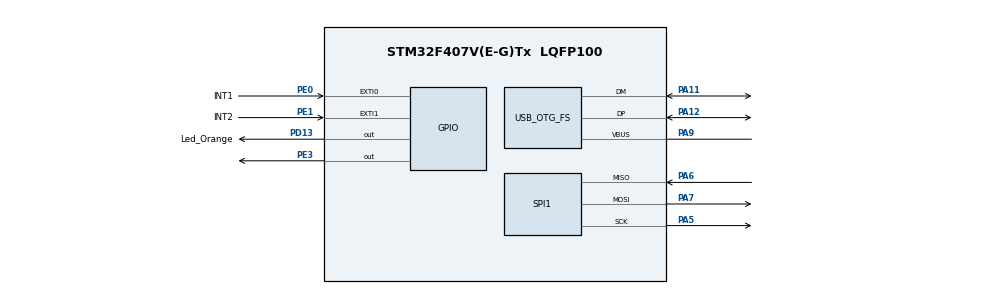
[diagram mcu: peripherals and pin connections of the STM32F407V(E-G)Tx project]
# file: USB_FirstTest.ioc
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Mcu.Family=STM32F4
Mcu.Name=STM32F407V(E-G)Tx
Mcu.Package=LQFP100
NVIC.EXTI0_IRQn=true\:0\:0
NVIC.EXTI1_IRQn=true\:0\:0
NVIC.OTG_FS_IRQn=true\:0\:0
NVIC.PriorityGroup=NVIC_PRIORITYGROUP_0
NVIC.TIM7_IRQn=true\:0\:0
PA11.GPIO_Mode=GPIO_MODE_AF_PP
PA11.GPIO_PuPd=GPIO_NOPULL
PA11.GPIO_Speed=GPIO_SPEED_HIGH
PA11.Mode=Device_Only
PA11.Signal=USB_OTG_FS_DM
PA12.GPIO_Mode=GPIO_MODE_AF_PP
PA12.GPIO_PuPd=GPIO_NOPULL
PA12.GPIO_Speed=GPIO_SPEED_HIGH
PA12.Mode=Device_Only
PA12.Signal=USB_OTG_FS_DP
PA5.GPIO_Mode=GPIO_MODE_AF_PP
PA5.GPIO_PuPd=GPIO_PULLDOWN
PA5.GPIO_Speed=GPIO_SPEED_FAST
PA5.Mode=Full_Duplex_Master
PA5.Signal=SPI1_SCK
PA6.GPIO_Mode=GPIO_MODE_AF_PP
PA6.GPIO_PuPd=GPIO_PULLDOWN
PA6.GPIO_Speed=GPIO_SPEED_FAST
PA6.Mode=Full_Duplex_Master
PA6.Signal=SPI1_MISO
PA7.GPIO_Mode=GPIO_MODE_AF_PP
PA7.GPIO_PuPd=GPIO_PULLDOWN
PA7.GPIO_Speed=GPIO_SPEED_FAST
PA7.Mode=Full_Duplex_Master
PA7.Signal=SPI1_MOSI
PA9.Mode=Activate_VBUS
PA9.Signal=USB_OTG_FS_VBUS
PD13.GPIO_Label=Led_Orange
PD13.GPIO_ModeDefaultOutputPP=GPIO_MODE_OUTPUT_PP
PD13.GPIO_PuPd=GPIO_PULLDOWN
PD13.GPIO_Speed=GPIO_SPEED_FAST
PD13.Signal=GPIO_Output
PE0.GPIO_Label=INT1
PE0.GPIO_ModeDefaultEXTI=GPIO_MODE_EVT_RISING
PE0.GPIO_PuPd=GPIO_PULLUP
PE0.Signal=GPXTI0
PE1.GPIO_Label=INT2
PE1.GPIO_ModeDefaultEXTI=GPIO_MODE_EVT_RISING
PE1.GPIO_PuPd=GPIO_PULLUP
PE1.Signal=GPXTI1
PE3.GPIO_ModeDefaultOutputPP=GPIO_MODE_OUTPUT_PP
PE3.GPIO_PuPd=GPIO_PULLDOWN
PE3.GPIO_Speed=GPIO_SPEED_HIGH
PE3.Signal=GPIO_Output
ProjectManager.TargetToolchain=MDK-ARM 4.73
RCC.APB1CLKDivider=RCC_HCLK_DIV4
RCC.APB2CLKDivider=RCC_HCLK_DIV2
RCC.HSE_VALUE=25000000
RCC.HSI_VALUE=16000000
RCC.LSE_VALUE=32768
RCC.PLLN=336
RCC.PLLQ=7
RCC.SYSCLKSource=RCC_SYSCLKSOURCE_PLLCLK
SPI1.BaudRatePrescaler-Full_Duplex_Master=SPI_BAUDRATEPRESCALER_16
SPI1.CalculateBaudRate-Full_Duplex_Master=5.25 MBits/s
SPI1.Mode-Full_Duplex_Master=SPI_MODE_MASTER
TIM7.Period=62499
TIM7.Prescaler=671
USB_DEVICE.USBD_HandleTypeDef=hUsbDeviceFS
USB_DEVICE.VirtualMode=Cdc
USB_DEVICE.VirtualModeFS=Cdc_FS
USB_OTG_FS.VirtualMode-Device_Only=Device_Only
VP_TIM7_VS_ClockSourceINT.Mode=Enable_Timer
VP_USB_DEVICE_VS_USB_DEVICE_CDC_FS.Mode=CDC_FS

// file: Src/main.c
/**
  ******************************************************************************
  * File Name          : main.c
  * Date               : 18/05/2015 05:00:17
  * Description        : Main program body
  ******************************************************************************
  *
  * COPYRIGHT(c) 2015 STMicroelectronics
  *
  * Redistribution and use in source and binary forms, with or without modification,
  * are permitted provided that the following conditions are met:
  *   1. Redistributions of source code must retain the above copyright notice,
  *      this list of conditions and the following disclaimer.
  *   2. Redistributions in binary form must reproduce the above copyright notice,
  *      this list of conditions and the following disclaimer in the documentation
  *      and/or other materials provided with the distribution.
  *   3. Neither the name of STMicroelectronics nor the names of its contributors
  *      may be used to endorse or promote products derived from this software
  *      without specific prior written permission.
  *
  * THIS SOFTWARE IS PROVIDED BY THE COPYRIGHT HOLDERS AND CONTRIBUTORS "AS IS"
  * AND ANY EXPRESS OR IMPLIED WARRANTIES, INCLUDING, BUT NOT LIMITED TO, THE
  * IMPLIED WARRANTIES OF MERCHANTABILITY AND FITNESS FOR A PARTICULAR PURPOSE ARE
  * DISCLAIMED. IN NO EVENT SHALL THE COPYRIGHT HOLDER OR CONTRIBUTORS BE LIABLE
  * FOR ANY DIRECT, INDIRECT, INCIDENTAL, SPECIAL, EXEMPLARY, OR CONSEQUENTIAL
  * DAMAGES (INCLUDING, BUT NOT LIMITED TO, PROCUREMENT OF SUBSTITUTE GOODS OR
  * SERVICES; LOSS OF USE, DATA, OR PROFITS; OR BUSINESS INTERRUPTION) HOWEVER
  * CAUSED AND ON ANY THEORY OF LIABILITY, WHETHER IN CONTRACT, STRICT LIABILITY,
  * OR TORT (INCLUDING NEGLIGENCE OR OTHERWISE) ARISING IN ANY WAY OUT OF THE USE
  * OF THIS SOFTWARE, EVEN IF ADVISED OF THE POSSIBILITY OF SUCH DAMAGE.
  *
  ******************************************************************************
  */

#include "stm32f4xx_hal.h"
#include "spi.h"
#include "tim.h"
#include "usb_device.h"
#include "gpio.h"

/* USER CODE BEGIN 0 */
#include "usbd_cdc_if.h"
#include "stm32f4_discovery_accelerometer.h"

// Массив тестовых данных
int16_t testDataToSend[4];

/*############################# ACCELEROMETER ################################*/
/* Read/Write command */
#define READWRITE_CMD                     ((uint8_t)0x80)
/* Multiple byte read/write command */
#define MULTIPLEBYTE_CMD                  ((uint8_t)0x40)
/* Dummy Byte Send by the SPI Master device in order to generate the Clock to the Slave device */
#define DUMMY_BYTE                        ((uint8_t)0x00)

/**
  * @brief  ACCELEROMETER Interface pins
  */
#define ACCELERO_CS_PIN                        GPIO_PIN_3                 /* PE.03 */
#define ACCELERO_CS_GPIO_PORT                  GPIOE                      /* GPIOE */

/* Chip Select macro definition */
#define ACCELERO_CS_LOW()       HAL_GPIO_WritePin( ACCELERO_CS_GPIO_PORT, ACCELERO_CS_PIN, GPIO_PIN_RESET	)
#define ACCELERO_CS_HIGH()      HAL_GPIO_WritePin( ACCELERO_CS_GPIO_PORT, ACCELERO_CS_PIN, GPIO_PIN_SET		)

/* USER CODE END 0 */

void SystemClock_Config(void);

int main(void)
{

  /* MCU Configuration----------------------------------------------------------*/

  /* Reset of all peripherals, Initializes the Flash interface and the Systick. */
  HAL_Init();

  /* Configure the system clock */
  SystemClock_Config();

  /* System interrupt init*/
  /* Sets the priority grouping field */
  HAL_NVIC_SetPriorityGrouping(NVIC_PRIORITYGROUP_0);
  HAL_NVIC_SetPriority(SysTick_IRQn, 0, 0);

  /* Initialize all configured peripherals */
  MX_GPIO_Init();
  MX_SPI1_Init();
  MX_TIM7_Init();
  MX_USB_DEVICE_Init();

  /* USER CODE BEGIN 2 */

//	for (uint8_t i = 0; i < 4; i++)
//  {
//    testDataToSend[i] = i;
//  }

	testDataToSend[0] = 0xAA;

	HAL_SPI_MspInit( &hspi1 );

	  /* Initialize Accelerometer MEMS */
  if(BSP_ACCELERO_Init() != HAL_OK)
  {
    /* Initialization Error */
    while(1){}
  }

	// Запустить таймер
	HAL_TIM_Base_Start_IT( &htim7 );

  /* USER CODE END 2 */

  while (1)
  {
  }

}

/** System Clock Configuration
*/
void SystemClock_Config(void)
{

  RCC_ClkInitTypeDef RCC_ClkInitStruct;
  RCC_OscInitTypeDef RCC_OscInitStruct;

  __PWR_CLK_ENABLE();

  __HAL_PWR_VOLTAGESCALING_CONFIG(PWR_REGULATOR_VOLTAGE_SCALE1);

  RCC_OscInitStruct.OscillatorType = RCC_OSCILLATORTYPE_HSI;
  RCC_OscInitStruct.HSIState = RCC_HSI_ON;
  RCC_OscInitStruct.HSICalibrationValue = 6;
  RCC_OscInitStruct.PLL.PLLState = RCC_PLL_ON;
  RCC_OscInitStruct.PLL.PLLSource = RCC_PLLSOURCE_HSI;
  RCC_OscInitStruct.PLL.PLLM = 16;
  RCC_OscInitStruct.PLL.PLLN = 336;
  RCC_OscInitStruct.PLL.PLLP = RCC_PLLP_DIV2;
  RCC_OscInitStruct.PLL.PLLQ = 7;
  HAL_RCC_OscConfig(&RCC_OscInitStruct);

  RCC_ClkInitStruct.ClockType = RCC_CLOCKTYPE_SYSCLK|RCC_CLOCKTYPE_PCLK1
                              |RCC_CLOCKTYPE_PCLK2;
  RCC_ClkInitStruct.SYSCLKSource = RCC_SYSCLKSOURCE_PLLCLK;
  RCC_ClkInitStruct.AHBCLKDivider = RCC_SYSCLK_DIV1;
  RCC_ClkInitStruct.APB1CLKDivider = RCC_HCLK_DIV4;
  RCC_ClkInitStruct.APB2CLKDivider = RCC_HCLK_DIV2;
  HAL_RCC_ClockConfig(&RCC_ClkInitStruct, FLASH_LATENCY_5);

}

/* USER CODE BEGIN 4 */
void HAL_TIM_PeriodElapsedCallback(TIM_HandleTypeDef *htim)
{
	// Меняем состояние на противоположное
	HAL_GPIO_TogglePin ( GPIOD, GPIO_PIN_13 );

	/* Read Acceleration*/
	BSP_ACCELERO_GetXYZ( (testDataToSend+1) );

	int8_t res = CDC_Transmit_FS( (uint8_t*)testDataToSend, 8 );

	// Запустить таймер
	// HAL_TIM_Base_Start_IT( &htim7 );
}

/**
  * @brief  Sends a Byte through the SPI interface and return the Byte received
  *         from the SPI bus.
  * @param  Byte: Byte send.
  * @retval The received byte value
  */
static uint8_t SPIx_WriteRead(uint8_t Byte)
{
  uint8_t receivedbyte = 0;

  /* Send a Byte through the SPI peripheral */
  /* Read byte from the SPI bus */
  if( HAL_SPI_TransmitReceive(&hspi1, (uint8_t*) &Byte, (uint8_t*) &receivedbyte, 1, 0x1000 ) != HAL_OK)
  {
    // SPIx_Error();
  }

  return receivedbyte;
}

/**
  * @brief  Writes one byte to the Accelerometer.
  * @param  pBuffer: pointer to the buffer containing the data to be written to the Accelerometer.
  * @param  WriteAddr: Accelerometer's internal address to write to.
  * @param  NumByteToWrite: Number of bytes to write.
  * @retval None
  */
void ACCELERO_IO_Write(uint8_t *pBuffer, uint8_t WriteAddr, uint16_t NumByteToWrite)
{
  /* Configure the MS bit:
     - When 0, the address will remain unchanged in multiple read/write commands.
     - When 1, the address will be auto incremented in multiple read/write commands.
  */
  if(NumByteToWrite > 0x01)
  {
    WriteAddr |= (uint8_t)MULTIPLEBYTE_CMD;
  }
  /* Set chip select Low at the start of the transmission */
  ACCELERO_CS_LOW();

  /* Send the Address of the indexed register */
  SPIx_WriteRead(WriteAddr);

  /* Send the data that will be written into the device (MSB First) */
  while(NumByteToWrite >= 0x01)
  {
    SPIx_WriteRead(*pBuffer);
    NumByteToWrite--;
    pBuffer++;
  }

  /* Set chip select High at the end of the transmission */
  ACCELERO_CS_HIGH();
}

/**
  * @brief  Reads a block of data from the Accelerometer.
  * @param  pBuffer: pointer to the buffer that receives the data read from the Accelerometer.
  * @param  ReadAddr: Accelerometer's internal address to read from.
  * @param  NumByteToRead: number of bytes to read from the Accelerometer.
  * @retval None
  */
void ACCELERO_IO_Read(uint8_t *pBuffer, uint8_t ReadAddr, uint16_t NumByteToRead)
{
  if(NumByteToRead > 0x01)
  {
    ReadAddr |= (uint8_t)( READWRITE_CMD | MULTIPLEBYTE_CMD );
  }
  else
  {
    ReadAddr |= (uint8_t)READWRITE_CMD;
  }
  /* Set chip select Low at the start of the transmission */
  ACCELERO_CS_LOW();

  /* Send the Address of the indexed register */
  SPIx_WriteRead(ReadAddr);

  /* Receive the data that will be read from the device (MSB First) */
  while(NumByteToRead > 0x00)
  {
    /* Send dummy byte (0x00) to generate the SPI clock to ACCELEROMETER (Slave device) */
    *pBuffer = SPIx_WriteRead( DUMMY_BYTE );
    NumByteToRead--;
    pBuffer++;
  }

  /* Set chip select High at the end of the transmission */
  ACCELERO_CS_HIGH();
}

/* USER CODE END 4 */

/************************ (C) COPYRIGHT STMicroelectronics *****END OF FILE****/
